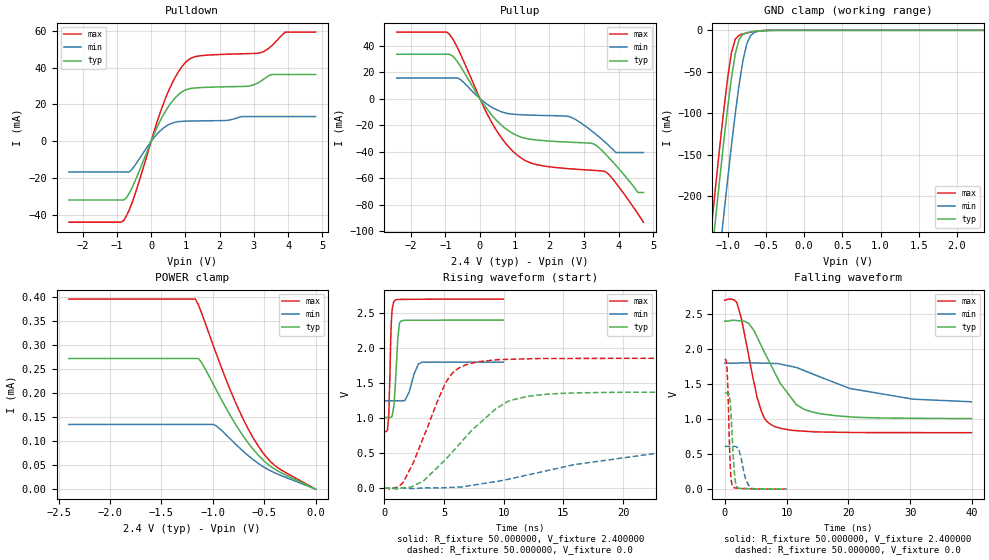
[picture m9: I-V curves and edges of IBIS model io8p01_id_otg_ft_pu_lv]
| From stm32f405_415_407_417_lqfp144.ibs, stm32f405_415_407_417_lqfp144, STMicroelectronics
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|   Model io8p01_id_otg_ft_pu_lv
[Model]  io8p01_id_otg_ft_pu_lv
Model_type I/O
Polarity   Non-Inverting
Enable   Active-Low
Vinl =   0.720000V
Vinh =   1.680000V
Vmeas =  1.200000V
Cref =   50.000000pF
Rref =   100.000000M
Vref =   0.0V
C_comp   2.229800pF   2.169700pF   2.325100pF
[Temperature Range]   25.000000   0.125000k   -40.000000
[Pullup Reference]   2.400000V   1.800000V   2.700000V
[Pulldown Reference]   0.0V   0.0V   0.0V
[POWER Clamp Reference]   2.400000V   1.800000V   2.700000V
[GND Clamp Reference]   0.0V   0.0V   0.0V
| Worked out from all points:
|   slope of the pulldown table from 0 to 0.36 V, typ, clamps not added: 25 ohm
|   slope of the pullup table from 0 to 0.36 V, typ, clamps not added: 27.7 ohm
|   GND clamp passes 1 mA (typ) near -0.62 V on its own axis
|   rising waveform, R_fixture 50.000000, V_fixture 2.400000: 20-80 % time 272ps typ, 607ps min, 181ps max; typ from 1.01 V to 2.4 V
|   rising waveform, R_fixture 50.000000, V_fixture 0.0: 20-80 % time 4.79ns typ, 12.2ns min, 2.63ns max; typ from 0.004 V to 1.37 V
|   falling waveform, R_fixture 50.000000, V_fixture 2.400000: 20-80 % time 5.37ns typ, 12.6ns min, 2.72ns max; typ from 2.4 V to 1.01 V
|   falling waveform, R_fixture 50.000000, V_fixture 0.0: 20-80 % time 527ps typ, 979ps min, 387ps max; typ from 1.37 V to 0.004 V
[Pulldown]
|Voltage   I(typ)   I(min)   I(max)
-2.4V     -31.73mA   -16.51mA   -43.74mA
-800mV    -31.73mA   -16.51mA   -42.87mA
-480mV    -21.97mA   -13.17mA   -29.21mA
80mV      3.63mA     1.966mA    5.014mA
480mV     18.15mA    8.737mA    26.02mA
800mV     25.37mA    10.72mA    37.77mA
1.12V     28.53mA    11.02mA    44.6mA
2.8V      29.84mA    13.46mA    47.53mA
3.2V      32.6mA     13.46mA    48.03mA
3.52V     36.23mA    13.46mA    51.75mA
3.92V     36.23mA    13.46mA    59.19mA
4.8V      36.23mA    13.46mA    59.19mA
[Pullup]
|Voltage   I(typ)   I(min)   I(max)
-2.4V     33.5mA     15.55mA    50.22mA
-960mV    33.5mA     15.55mA    50.22mA
-560mV    24.27mA    14.29mA    33.52mA
320mV     -11.75mA   -6.206mA   -17.08mA
960mV     -26.46mA   -11.81mA   -40.01mA
1.52V     -30.88mA   -12.51mA   -49.04mA
2.56V     -32.87mA   -13.48mA   -52.89mA
3.28V     -34.17mA   -25.52mA   -54.16mA
3.6V      -41.29mA   -32.61mA   -54.95mA
3.92V     -50.31mA   -40.7mA    -63.6mA
4.56V     -70.9mA    -40.7mA    -87.04mA
4.72V     -70.9mA    -40.7mA    -93.3mA
[GND_clamp]
|Voltage   I(typ)   I(min)   I(max)
-2.4V     -1.424A    -1.508A    -1.393A
-1.25V    -311.2mA   -401.9mA   -273.3mA
-1.2V     -265.4mA   -356.1mA   -227.2mA
-1.15V    -220.4mA   -310.8mA   -181.9mA
-1.1V     -176.3mA   -266.2mA   -137.9mA
-1.05V    -133.8mA   -222.5mA   -95.88mA
-950mV    -57.31mA   -138.9mA   -26.99mA
-900mV    -28.28mA   -100.4mA   -10.61mA
-850mV    -11.02mA   -65.55mA   -5.978mA
-750mV    -2.847mA   -16.51mA   -3.192mA
-600mV    -755.4uA   -1.17mA    -743.6uA
2.35V     0A         0A         0A
[POWER_clamp]
|Voltage   I(typ)   I(min)   I(max)
-2.4V     272.5uA    135uA      396.5uA
-1.17V    272.5uA    135uA      396.5uA
-1.14V    272.5uA    135uA      384.7uA
-1.11V    264.2uA    135uA      368uA
-990mV    216.8uA    135uA      296.5uA
-870mV    168.8uA    113.3uA    228.2uA
-750mV    125.6uA    88.19uA    167.1uA
-660mV    97.6uA     70.82uA    127.5uA
-570mV    73.91uA    55.62uA    94.12uA
-480mV    54.73uA    43.14uA    67.37uA
-390mV    40.65uA    33.48uA    48.23uA
0V        0A         0A         0A
[Ramp]
| variable   typ   min   max
dV/dt_r  0.82201/4.79105n   0.38518/13.04708n   1.10978/2.63063n
dV/dt_f  0.83370/5.37677n   0.32208/13.41905n   1.13507/2.71686n
R_load = 50.000000
[Rising Waveform]
R_fixture= 50.000000
V_fixture= 2.400000
V_fixture_min= 1.800000
V_fixture_max= 2.700000
|time   V(typ)   V(min)   V(max)
0s        1.011V     1.249V     809.2mV
260.3ps   1.011V     1.249V     835.8mV
340.3ps   1.011V     1.249V     994.1mV
600.6ps   1.02V      1.249V     2.446V
860.9ps   1.346V     1.249V     2.678V
1.121ns   2.146V     1.249V     2.693V
1.381ns   2.384V     1.247V     2.695V
1.722ns   2.396V     1.257V     2.695V
3.043ns   2.398V     1.789V     2.697V
9.97ns    2.4V       1.8V       2.7V
[Rising Waveform]
R_fixture= 50.000000
V_fixture= 0.0
V_fixture_min= 0.0
V_fixture_max= 0.0
|time   V(typ)   V(min)   V(max)
0s        3.754mV    3.294mV    4.214mV
1.602ns   9.053mV    3.122mV    93.83mV
3.283ns   108.3mV    6.701mV    735.6mV
5.125ns   412.2mV    10.64mV    1.503V
5.926ns   563.9mV    16.26mV    1.679V
6.967ns   761.1mV    34.31mV    1.77V
10.33ns   1.239V     128.3mV    1.84V
12.81ns   1.329V     221.9mV    1.851V
24.82ns   1.373V     548mV      1.854V
39.88ns   1.373V     613.5mV    1.854V
[Falling Waveform]
R_fixture= 50.000000
V_fixture= 2.400000
V_fixture_min= 1.800000
V_fixture_max= 2.700000
|time   V(typ)   V(min)   V(max)
0s        2.4V       1.8V       2.7V
2.002ns   2.407V     1.801V     2.653V
3.924ns   2.363V     1.805V     1.886V
5.285ns   2.165V     1.801V     1.299V
6.326ns   1.971V     1.8V       1.03V
7.608ns   1.749V     1.797V     917.5mV
11.53ns   1.213V     1.739V     837.5mV
14.09ns   1.105V     1.65V      822.4mV
20.26ns   1.035V     1.439V     812.2mV
39.88ns   1.011V     1.249V     809.2mV
[Falling Waveform]
R_fixture= 50.000000
V_fixture= 0.0
V_fixture_min= 0.0
V_fixture_max= 0.0
|time   V(typ)   V(min)   V(max)
0s        1.373V     613.5mV    1.854V
380.4ps   1.373V     613.6mV    1.722V
480.5ps   1.373V     613.6mV    1.525V
740.7ps   1.349V     613.5mV    737mV
981ps     1.132V     613.2mV    211.1mV
1.281ns   627.3mV    612.9mV    45.49mV
1.702ns   129.1mV    615mV      20.7mV
2.062ns   28.73mV    597.9mV    18mV
3.864ns   11.14mV    57.01mV    9.221mV
9.97ns    3.754mV    3.294mV    4.214mV
